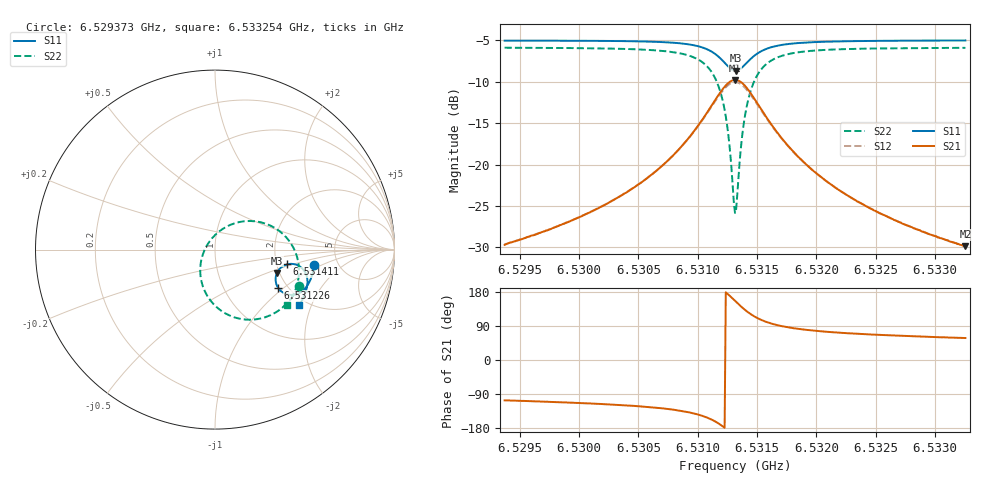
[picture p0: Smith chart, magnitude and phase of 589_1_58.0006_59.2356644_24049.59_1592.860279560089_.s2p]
#  HZ  S  RI  R  50.00
! Rohde & Schwarz Vector Network Analyzer
! Rohde-Schwarz,ZNB20-2Port,1311601062101988,3.16
! Created: UTC 3/21/2024, 1:16:44 AM
! freq[Hz]  re:S11  im:S11  re:S21  im:S21  re:S12  im:S12  re:S22  im:S22
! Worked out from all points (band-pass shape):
!   401 points, 6.529373 GHz to 6.533254 GHz, reference 50 ohm
!   highest |S21| = -9.77 dB at 6.531314 GHz (marker M1); lowest = -29.9 dB at 6.533254 GHz (marker M2)
!   |S21| within 3 dB of the highest: 6.531121 GHz to 6.531509 GHz (388.4 kHz wide, 0.00595 % of centre)
!   lowest |S11| = -8.7 dB at 6.531323 GHz (marker M3), VSWR 2.17, Z = 96.9 - j29.3 ohm
!   |S11| at or under -10 dB: nowhere
!   |S22| runs from -25.9 to -5.9 dB; largest |S21 - S12| = 0.013
!   S11 on the Smith chart (normalised r, x): 6.529373 GHz: 3.33, -0.83; 6.531226 GHz: 1.78, -0.92; 6.531411 GHz: 2.28, -0.45; 6.533254 GHz: 1.83, -1.64
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6.5293726e9  0.5541 -0.0851  -0.00929 -0.0313  -0.00998 -0.0313  0.4663 -0.2016
6.5300228e9  0.5418 -0.1397  -0.0197 -0.0445  -0.0208 -0.0443  0.4316 -0.2619
6.530411e9  0.5278 -0.1766  -0.0344 -0.0594  -0.0361 -0.0587  0.3929 -0.3074
6.530673e9  0.5107 -0.2057  -0.0565 -0.0757  -0.0585 -0.0742  0.3437 -0.3468
6.5308962e9  0.4817 -0.2346  -0.0991 -0.0948  -0.1019 -0.0912  0.258 -0.3831
6.5310612e9  0.4355 -0.2522  -0.1709 -0.0989  -0.1731 -0.0917  0.1266 -0.3826
6.5311583e9  0.3885 -0.2445  -0.2432 -0.0687  -0.2416 -0.0583  0.00671 -0.3184
6.5312262e9  0.3524 -0.2139  -0.295 -0.00528  -0.288 0.00504  -0.0684 -0.2025
6.5312553e9  0.3418 -0.192  -0.3082 0.0357  -0.2984 0.0446  -0.0821 -0.132
6.5312941e9  0.338 -0.1571  -0.3072 0.0989  -0.2954 0.104  -0.0687 -0.0294
6.5313135e9  0.3419 -0.1392  -0.2973 0.1302  -0.2852 0.1332  -0.0468 0.02
6.5313233e9  0.3451 -0.1305  -0.2902 0.1452  -0.278 0.147  -0.0323 0.0427
6.531333e9  0.3493 -0.1222  -0.2815 0.1592  -0.2696 0.16  -0.0158 0.0641
6.5313718e9  0.373 -0.096  -0.2362 0.2037  -0.2264 0.201  0.066 0.1287
6.5314106e9  0.4021 -0.0821  -0.1837 0.2264  -0.1766 0.2226  0.1565 0.157
6.5314785e9  0.4481 -0.0827  -0.1036 0.2261  -0.1002 0.2225  0.2896 0.1416
6.5315756e9  0.4877 -0.1067  -0.0359 0.1908  -0.0345 0.1888  0.3981 0.0669
6.5317211e9  0.5101 -0.1445  0.0036 0.14  0.00478 0.1392  0.4554 -0.0348
6.5319638e9  0.5151 -0.189  0.0194 0.0909  0.0205 0.0905  0.4674 -0.1365
6.5322646e9  0.5081 -0.2258  0.0216 0.0611  0.0224 0.0608  0.4549 -0.2048
6.532614e9  0.4963 -0.2585  0.02 0.0434  0.0208 0.043  0.4357 -0.2535
6.5332545e9  0.4707 -0.3073  0.017 0.0272  0.0176 0.0268  0.4004 -0.3113
